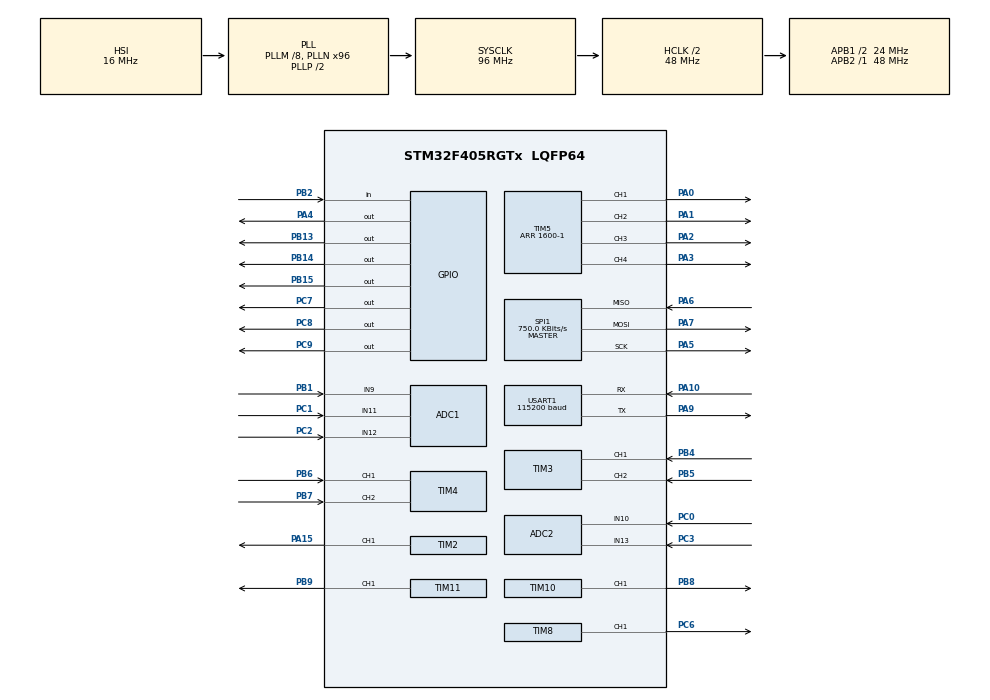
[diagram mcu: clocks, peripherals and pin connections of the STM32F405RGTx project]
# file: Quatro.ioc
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ADC1.Channel-0\#ChannelRegularConversion=ADC_CHANNEL_11
ADC1.Channel-1\#ChannelRegularConversion=ADC_CHANNEL_12
ADC1.Channel-2\#ChannelRegularConversion=ADC_CHANNEL_9
ADC1.DMAContinuousRequests=ENABLE
ADC1.NbrOfConversion=3
ADC1.NbrOfConversionFlag=1
ADC1.Rank-0\#ChannelRegularConversion=1
ADC1.Rank-1\#ChannelRegularConversion=2
ADC1.Rank-2\#ChannelRegularConversion=3
ADC1.SamplingTime-0\#ChannelRegularConversion=ADC_SAMPLETIME_56CYCLES
ADC1.SamplingTime-1\#ChannelRegularConversion=ADC_SAMPLETIME_56CYCLES
ADC1.SamplingTime-2\#ChannelRegularConversion=ADC_SAMPLETIME_56CYCLES
ADC1.master=1
ADC2.Channel-0\#ChannelRegularConversion=ADC_CHANNEL_10
ADC2.Channel-1\#ChannelRegularConversion=ADC_CHANNEL_13
ADC2.DMAContinuousRequests=ENABLE
ADC2.InjNumberOfConversion=0
ADC2.NbrOfConversion=2
ADC2.NbrOfConversionFlag=1
ADC2.Rank-0\#ChannelRegularConversion=1
ADC2.Rank-1\#ChannelRegularConversion=2
ADC2.SamplingTime-0\#ChannelRegularConversion=ADC_SAMPLETIME_56CYCLES
ADC2.SamplingTime-1\#ChannelRegularConversion=ADC_SAMPLETIME_56CYCLES
Dma.ADC1.1.Direction=DMA_PERIPH_TO_MEMORY
Dma.ADC1.1.FIFOMode=DMA_FIFOMODE_DISABLE
Dma.ADC1.1.Instance=DMA2_Stream0
Dma.ADC1.1.MemDataAlignment=DMA_MDATAALIGN_HALFWORD
Dma.ADC1.1.MemInc=DMA_MINC_ENABLE
Dma.ADC1.1.Mode=DMA_CIRCULAR
Dma.ADC1.1.PeriphDataAlignment=DMA_PDATAALIGN_HALFWORD
Dma.ADC1.1.PeriphInc=DMA_PINC_DISABLE
Dma.ADC1.1.Priority=DMA_PRIORITY_LOW
Dma.ADC2.0.Direction=DMA_PERIPH_TO_MEMORY
Dma.ADC2.0.FIFOMode=DMA_FIFOMODE_DISABLE
Dma.ADC2.0.Instance=DMA2_Stream2
Dma.ADC2.0.MemDataAlignment=DMA_MDATAALIGN_HALFWORD
Dma.ADC2.0.MemInc=DMA_MINC_ENABLE
Dma.ADC2.0.Mode=DMA_CIRCULAR
Dma.ADC2.0.PeriphDataAlignment=DMA_PDATAALIGN_HALFWORD
Dma.ADC2.0.PeriphInc=DMA_PINC_DISABLE
Dma.ADC2.0.Priority=DMA_PRIORITY_LOW
Dma.Request0=ADC2
Dma.Request1=ADC1
Mcu.Family=STM32F4
Mcu.Name=STM32F405RGTx
Mcu.Package=LQFP64
NVIC.DMA2_Stream0_IRQn=true\:0\:0\:false\:false\:true\:false\:true
NVIC.DMA2_Stream2_IRQn=true\:0\:0\:false\:false\:true\:false\:true
NVIC.PriorityGroup=NVIC_PRIORITYGROUP_4
NVIC.TIM1_TRG_COM_TIM11_IRQn=true\:0\:0\:false\:false\:true\:true\:true
NVIC.TIM1_UP_TIM10_IRQn=true\:0\:0\:false\:false\:true\:true\:true
PA0-WKUP.Signal=S_TIM5_CH1
PA1.Signal=S_TIM5_CH2
PA10.Mode=Asynchronous
PA10.Signal=USART1_RX
PA13.Mode=Serial_Wire
PA13.Signal=SYS_JTMS-SWDIO
PA14.Mode=Serial_Wire
PA14.Signal=SYS_JTCK-SWCLK
PA15.Signal=S_TIM2_CH1_ETR
PA2.Signal=S_TIM5_CH3
PA3.Signal=S_TIM5_CH4
PA4.Signal=GPIO_Output
PA5.Mode=Full_Duplex_Master
PA5.Signal=SPI1_SCK
PA6.Mode=Full_Duplex_Master
PA6.Signal=SPI1_MISO
PA7.Mode=Full_Duplex_Master
PA7.Signal=SPI1_MOSI
PA9.Mode=Asynchronous
PA9.Signal=USART1_TX
PB1.Signal=ADCx_IN9
PB13.Signal=GPIO_Output
PB14.Signal=GPIO_Output
PB15.Signal=GPIO_Output
PB2.Signal=GPIO_Input
PB4.Signal=S_TIM3_CH1
PB5.Signal=S_TIM3_CH2
PB6.Signal=S_TIM4_CH1
PB7.Signal=S_TIM4_CH2
PB8.Signal=S_TIM10_CH1
PB9.Signal=S_TIM11_CH1
PC0.Signal=ADCx_IN10
PC1.Signal=ADCx_IN11
PC2.Signal=ADCx_IN12
PC3.Signal=ADCx_IN13
PC6.Signal=S_TIM8_CH1
PC7.Signal=GPIO_Output
PC8.Signal=GPIO_Output
PC9.Signal=GPIO_Output
ProjectManager.HeapSize=0x200
ProjectManager.StackSize=0x400
ProjectManager.TargetToolchain=Makefile
RCC.48MHZClocksFreq_Value=48000000
RCC.AHBCLKDivider=RCC_SYSCLK_DIV2
RCC.AHBFreq_Value=48000000
RCC.APB1CLKDivider=RCC_HCLK_DIV2
RCC.APB1Freq_Value=24000000
RCC.APB1TimFreq_Value=48000000
RCC.APB2Freq_Value=48000000
RCC.APB2TimFreq_Value=48000000
RCC.CortexFreq_Value=48000000
RCC.HCLKFreq_Value=48000000
RCC.HSE_VALUE=25000000
RCC.HSI_VALUE=16000000
RCC.LSE_VALUE=32768
RCC.PLLM=8
RCC.PLLN=96
RCC.SYSCLKFreq_VALUE=96000000
RCC.SYSCLKSource=RCC_SYSCLKSOURCE_PLLCLK
RCC.VCOOutputFreq_Value=192000000
SH.ADCx_IN10.0=ADC2_IN10,IN10
SH.ADCx_IN11.0=ADC1_IN11,IN11
SH.ADCx_IN12.0=ADC1_IN12,IN12
SH.ADCx_IN13.0=ADC2_IN13,IN13
SH.ADCx_IN9.0=ADC1_IN9,IN9
SH.S_TIM10_CH1.0=TIM10_CH1,PWM Generation1 CH1
SH.S_TIM11_CH1.0=TIM11_CH1,PWM Generation1 CH1
SH.S_TIM2_CH1_ETR.0=TIM2_CH1,PWM Generation1 CH1
SH.S_TIM3_CH1.0=TIM3_CH1,Encoder_Interface
SH.S_TIM3_CH2.0=TIM3_CH2,Encoder_Interface
SH.S_TIM4_CH1.0=TIM4_CH1,Encoder_Interface
SH.S_TIM4_CH2.0=TIM4_CH2,Encoder_Interface
SH.S_TIM5_CH1.0=TIM5_CH1,PWM Generation1 CH1
SH.S_TIM5_CH2.0=TIM5_CH2,PWM Generation2 CH2
SH.S_TIM5_CH3.0=TIM5_CH3,PWM Generation3 CH3
SH.S_TIM5_CH4.0=TIM5_CH4,PWM Generation4 CH4
SH.S_TIM8_CH1.0=TIM8_CH1,PWM Generation1 CH1
SPI1.BaudRatePrescaler=SPI_BAUDRATEPRESCALER_64
SPI1.CLKPhase=SPI_PHASE_2EDGE
SPI1.CLKPolarity=SPI_POLARITY_HIGH
SPI1.CalculateBaudRate=750.0 KBits/s
SPI1.Direction=SPI_DIRECTION_2LINES
SPI1.Mode=SPI_MODE_MASTER
SPI1.VirtualType=VM_MASTER
TIM1.Period=100-1
TIM1.Prescaler=30
TIM10.Channel=TIM_CHANNEL_1
TIM10.Period=1000-1
TIM10.Prescaler=48
TIM11.Channel=TIM_CHANNEL_1
TIM11.Period=1000-1
TIM11.Prescaler=48
TIM2.Channel-PWM\ Generation1\ CH1=TIM_CHANNEL_1
TIM2.Period=1000-1
TIM2.Prescaler=48
TIM3.EncoderMode=TIM_ENCODERMODE_TI12
TIM4.EncoderMode=TIM_ENCODERMODE_TI12
TIM5.Channel-PWM\ Generation1\ CH1=TIM_CHANNEL_1
TIM5.Channel-PWM\ Generation2\ CH2=TIM_CHANNEL_2
TIM5.Channel-PWM\ Generation3\ CH3=TIM_CHANNEL_3
TIM5.Channel-PWM\ Generation4\ CH4=TIM_CHANNEL_4
TIM5.Period=1600-1
TIM8.Channel-PWM\ Generation1\ CH1=TIM_CHANNEL_1
TIM8.Period=1000-1
USART1.BaudRate=115200
USART1.VirtualMode=VM_ASYNC
VP_TIM10_VS_ClockSourceINT.Mode=Enable_Timer
VP_TIM11_VS_ClockSourceINT.Mode=Enable_Timer
VP_TIM12_VS_ClockSourceINT.Mode=Internal
VP_TIM12_VS_OPM.Mode=OPM_bit
VP_TIM1_VS_ClockSourceINT.Mode=Internal
VP_TIM2_VS_ClockSourceINT.Mode=Internal
board=custom

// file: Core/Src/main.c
/* USER CODE BEGIN Header */
/**
 ******************************************************************************
 * @file           : main.c
 * @brief          : Main program body
 ******************************************************************************
 * @attention
 *
 * <h2><center>&copy; Copyright (c) 2021 STMicroelectronics.
 * All rights reserved.</center></h2>
 *
 * This software component is licensed by ST under BSD 3-Clause license,
 * the "License"; You may not use this file except in compliance with the
 * License. You may obtain a copy of the License at:
 *                        opensource.org/licenses/BSD-3-Clause
 *
 ******************************************************************************
 */
/* USER CODE END Header */
#include "main.h"
#include "adc.h"
#include "dma.h"
#include "spi.h"
#include "tim.h"
#include "usart.h"
#include "gpio.h"

/* USER CODE BEGIN Includes */
#include "my_header.h"
/* USER CODE END Includes */

/* USER CODE BEGIN PTD */
extern Control_Typedef pid_1, pid_2, pid_3;
/* USER CODE END PTD */

void SystemClock_Config(void);

/* USER CODE BEGIN 0 */
bool flag_int = 0;
int main_mode = 0;
int flag_mode = 0;
int cnt = 0;
int cnt16kHz = 0;
int cnt1kHz = 0;
int cnt100Hz = 0;
int cnt_gyro = 0;
extern float cnt_turn;
// int cnt_mode = 0;
float data1[126];
float data2[126];

extern float yaw, gz, gz_nonfil;;
extern uint32_t ir_fl, ir_fr, ir_bl, ir_br;
extern float bat_vol;
extern float velocityL, velocityR, velocity;
extern float u_left, u_right;
extern float u_turn;

extern float x_ref;
extern float v_ref;
extern float a_ref;
extern float j_ref;

float v[2000];
float theta[2000];
float ref1[2000];
float ref2[2000];
float ref3[2000];
float ref4[2000];

int id = 0;

void HAL_TIM_PeriodElapsedCallback(TIM_HandleTypeDef *htim)
{
  if (htim == &htim1) //割込み16kHz
  {
    ReadFrontIRSensor();
    ReadBackIRSensor();
    if (flag_int)
    {
      cnt16kHz = (cnt16kHz + 1) % 16;
      if (cnt16kHz == 0) //割込み1kHz
      {
        cnt1kHz = (cnt1kHz + 1) % 1000;
        UpdateIRSensorData();
        UpdateGyroData();
        UpdateEncoderData();

        if (flag_mode == 0)
        {
          // PartyTrick();

          // TurnLeft(&pid_2);
          // TurnRight(&pid_2);
          v[id] = gz;
          theta[id] = yaw;
          Uturn(&pid_1, &pid_2);
          ref1[id] = v_ref;
          // ref2[id] = a_ref;
          // ref3[id] = j_ref;
          ref4[id] = x_ref;
          if(id >= 1526){
            MotorStop();
            flag_int = false;
          }

          id++;
        }
      }

      if (cnt1kHz == 0)
        HAL_GPIO_WritePin(GPIOC, GPIO_PIN_8, GPIO_PIN_SET);
      else
        HAL_GPIO_WritePin(GPIOC, GPIO_PIN_8, GPIO_PIN_RESET);

      if (cnt1kHz % 200 == 0)
      {
        // ExecuteLogger();
      }
    }
  }
}
/* USER CODE END 0 */

int main(void)
{

  /* MCU Configuration--------------------------------------------------------*/

  /* Reset of all peripherals, Initializes the Flash interface and the Systick. */
  HAL_Init();

  /* Configure the system clock */
  SystemClock_Config();

  /* Initialize all configured peripherals */
  MX_GPIO_Init();
  MX_DMA_Init();
  MX_SPI1_Init();
  MX_TIM2_Init();
  MX_TIM3_Init();
  MX_TIM4_Init();
  MX_TIM10_Init();
  MX_TIM11_Init();
  MX_TIM12_Init();
  MX_ADC1_Init();
  MX_TIM5_Init();
  MX_TIM8_Init();
  MX_USART1_UART_Init();
  MX_ADC2_Init();
  MX_TIM1_Init();
  /* USER CODE BEGIN 2 */
  HAL_TIM_Base_Start_IT(&htim1);
  HAL_TIM_PWM_Start(&htim2, TIM_CHANNEL_1);
  HAL_TIM_Encoder_Start(&htim3, TIM_CHANNEL_ALL);
  HAL_TIM_Encoder_Start(&htim4, TIM_CHANNEL_ALL);
  HAL_TIM_PWM_Start(&htim5, TIM_CHANNEL_1);
  HAL_TIM_PWM_Start(&htim5, TIM_CHANNEL_2);
  HAL_TIM_PWM_Start(&htim5, TIM_CHANNEL_3);
  HAL_TIM_PWM_Start(&htim5, TIM_CHANNEL_4);
  HAL_TIM_PWM_Start(&htim8, TIM_CHANNEL_1);
  HAL_TIM_PWM_Start(&htim10, TIM_CHANNEL_1);
  HAL_TIM_PWM_Start(&htim11, TIM_CHANNEL_1);

  setbuf(stdout, NULL);
  StartUp();
  /* USER CODE END 2 */

  /* Infinite loop */
  while (1)
  {

    /* USER CODE BEGIN 3 */
    if(main_mode == 0){
      ModeSelect();
    }
    else if (main_mode == 1){
      if (HAL_GPIO_ReadPin(GPIOB, GPIO_PIN_2) == 0){
        for(int i = 0; i < 1527; i++){
          printf("%f \r\n", ref4[i]);
        }
        printf("theta------------------------------------------ \r\n");
        for(int i = 0; i < 1527; i++){
          printf("%f \r\n", theta[i]);
        }
        printf("ref1------------------------------------------ \r\n");
        for(int i = 0; i < 1527; i++){
          printf("%f \r\n", ref1[i]);
        }
        printf("omega------------------------------------------ \r\n");
        for(int i = 0; i < 1527; i++){
          printf("%f \r\n", v[i]);
        }
        // for(int i = 0; i < 314; i++){
        //   printf("%f \r\n", ref2[i]);
        // }
        // printf("------------------------------------------ \r\n");
        // for(int i = 0; i < 314; i++){
        //   printf("%f \r\n", ref3[i]);
        // }
      }
    }
  }
  /* USER CODE END 3 */
}

void SystemClock_Config(void)
{
  RCC_OscInitTypeDef RCC_OscInitStruct = {0};
  RCC_ClkInitTypeDef RCC_ClkInitStruct = {0};

  /** Configure the main internal regulator output voltage
  */
  __HAL_RCC_PWR_CLK_ENABLE();
  __HAL_PWR_VOLTAGESCALING_CONFIG(PWR_REGULATOR_VOLTAGE_SCALE1);
  /** Initializes the RCC Oscillators according to the specified parameters
  * in the RCC_OscInitTypeDef structure.
  */
  RCC_OscInitStruct.OscillatorType = RCC_OSCILLATORTYPE_HSI;
  RCC_OscInitStruct.HSIState = RCC_HSI_ON;
  RCC_OscInitStruct.HSICalibrationValue = RCC_HSICALIBRATION_DEFAULT;
  RCC_OscInitStruct.PLL.PLLState = RCC_PLL_ON;
  RCC_OscInitStruct.PLL.PLLSource = RCC_PLLSOURCE_HSI;
  RCC_OscInitStruct.PLL.PLLM = 8;
  RCC_OscInitStruct.PLL.PLLN = 96;
  RCC_OscInitStruct.PLL.PLLP = RCC_PLLP_DIV2;
  RCC_OscInitStruct.PLL.PLLQ = 4;
  if (HAL_RCC_OscConfig(&RCC_OscInitStruct) != HAL_OK)
  {
    Error_Handler();
  }
  /** Initializes the CPU, AHB and APB buses clocks
  */
  RCC_ClkInitStruct.ClockType = RCC_CLOCKTYPE_HCLK|RCC_CLOCKTYPE_SYSCLK
                              |RCC_CLOCKTYPE_PCLK1|RCC_CLOCKTYPE_PCLK2;
  RCC_ClkInitStruct.SYSCLKSource = RCC_SYSCLKSOURCE_PLLCLK;
  RCC_ClkInitStruct.AHBCLKDivider = RCC_SYSCLK_DIV2;
  RCC_ClkInitStruct.APB1CLKDivider = RCC_HCLK_DIV2;
  RCC_ClkInitStruct.APB2CLKDivider = RCC_HCLK_DIV1;

  if (HAL_RCC_ClockConfig(&RCC_ClkInitStruct, FLASH_LATENCY_1) != HAL_OK)
  {
    Error_Handler();
  }
}

void Error_Handler(void)
{
  __disable_irq();
  while (1)
  {
  }
}

/************************ (C) COPYRIGHT STMicroelectronics *****END OF FILE****/
